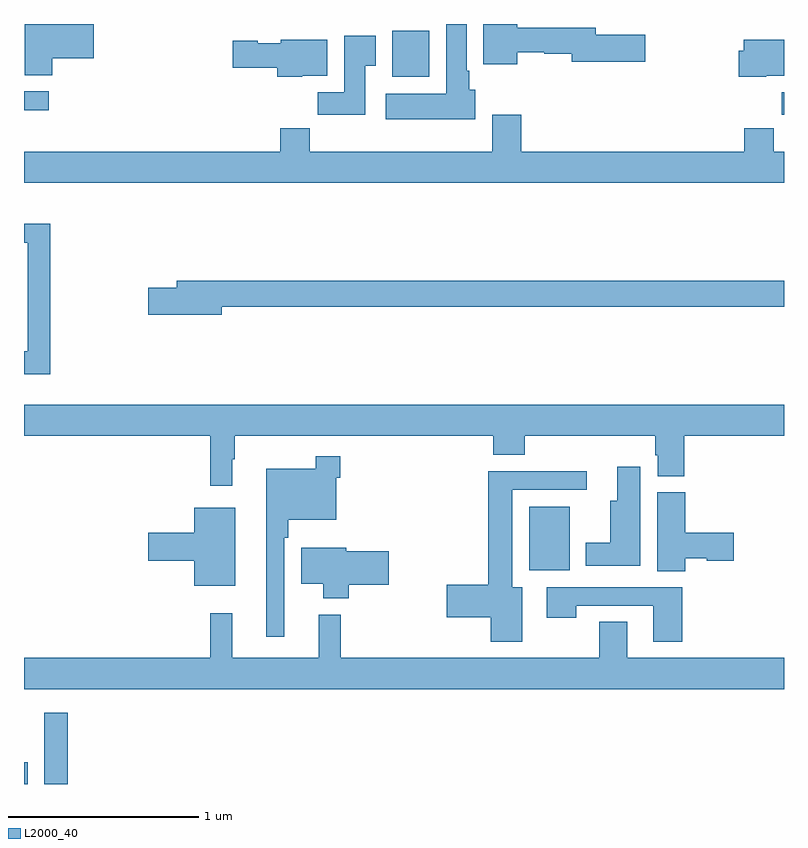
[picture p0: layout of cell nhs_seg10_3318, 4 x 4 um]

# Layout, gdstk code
import gdstk
lib = gdstk.Library(unit=1e-6, precision=1e-09)
def R(c, l, rs):  # rectangles x0, y0, x1, y1
    for r in rs: c.add(gdstk.rectangle(r[:2], r[2:], *l))
def P(c, l, *ps):  # polygons
    for p in ps: c.add(gdstk.Polygon(p, *l))
L2000_40 = (2000, 40)

nhs_seg10_3318 = lib.new_cell('nhs_seg10_3318')
R(nhs_seg10_3318, L2000_40, [(291,1282.5,291.019,1282.615), (291.107,1282.5,291.229,1282.876), (293.66,1283.624,293.872,1283.959), (294.988,1286.022,295,1286.14), (291,1286.047,291.13,1286.145), (292.937,1286.222,293.134,1286.464)])
P(nhs_seg10_3318, L2000_40, [(291.149,1286.321),(291.367,1286.321),(291.367,1286.5),(291.005,1286.5),(291.005,1286.23),(291.149,1286.23)],
  [(293.374,1286.154),(293.344,1286.154),(293.344,1286.254),(293.329,1286.254),(293.329,1286.5),(293.222,1286.5),(293.222,1286.134),(292.905,1286.134),(292.905,1286),(293.374,1286)],
  [(293.596,1286.352),(293.739,1286.352),(293.739,1286.344),(293.882,1286.344),(293.882,1286.302),(294.271,1286.302),(294.271,1286.444),(294.01,1286.444),(294.01,1286.48),(293.596,1286.48),(293.596,1286.5),(293.417,1286.5),(293.417,1286.288),(293.596,1286.288)],
  [(292.795,1286.281),(292.852,1286.281),(292.852,1286.437),(292.685,1286.437),(292.685,1286.14),(292.546,1286.14),(292.546,1286.022),(292.795,1286.022)],
  [(292.464,1286.228),(292.597,1286.228),(292.597,1286.416),(292.35,1286.416),(292.35,1286.398),(292.23,1286.398),(292.23,1286.411),(292.098,1286.411),(292.098,1286.269),(292.334,1286.269),(292.334,1286.222),(292.464,1286.222)],
  [(294.906,1286.228),(295,1286.228),(295,1286.416),(294.788,1286.416),(294.788,1286.358),(294.763,1286.358),(294.763,1286.222),(294.906,1286.222)],
  [(295,1285.828),(294.947,1285.828),(294.947,1285.952),(294.791,1285.952),(294.791,1285.828),(293.618,1285.828),(293.618,1286.023),(293.465,1286.023),(293.465,1285.828),(292.505,1285.828),(292.505,1285.952),(292.349,1285.952),(292.349,1285.828),(291,1285.828),(291,1285.664),(295,1285.664)],
  [(291.139,1285.448),(291,1285.448),(291,1285.35),(291.02,1285.35),(291.02,1284.777),(291,1284.777),(291,1284.657),(291.139,1284.657)],
  [(292.042,1285.012),(295,1285.012),(295,1285.148),(291.803,1285.148),(291.803,1285.112),(291.654,1285.112),(291.654,1284.97),(292.042,1284.97)],
  [(292.096,1284.209),(292.108,1284.209),(292.108,1284.332),(293.471,1284.332),(293.471,1284.233),(293.636,1284.233),(293.636,1284.332),(294.323,1284.332),(294.323,1284.231),(294.335,1284.231),(294.335,1284.121),(294.476,1284.121),(294.476,1284.332),(295,1284.332),(295,1284.496),(291,1284.496),(291,1284.332),(291.979,1284.332),(291.979,1284.069),(292.096,1284.069)],
  [(292.371,1283.795),(292.391,1283.795),(292.391,1283.891),(292.644,1283.891),(292.644,1284.113),(292.664,1284.113),(292.664,1284.226),(292.536,1284.226),(292.536,1284.16),(292.274,1284.16),(292.274,1283.274),(292.371,1283.274)],
  [(294.244,1284.169),(294.122,1284.169),(294.122,1283.992),(294.086,1283.992),(294.086,1283.77),(293.957,1283.77),(293.957,1283.648),(294.244,1283.648)],
  [(293.623,1283.536),(293.569,1283.536),(293.569,1284.048),(293.962,1284.048),(293.962,1284.146),(293.444,1284.146),(293.444,1283.549),(293.226,1283.549),(293.226,1283.378),(293.456,1283.378),(293.456,1283.25),(293.623,1283.25)],
  [(294.479,1283.687),(294.593,1283.687),(294.593,1283.675),(294.736,1283.675),(294.736,1283.822),(294.479,1283.822),(294.479,1284.036),(294.332,1284.036),(294.332,1283.62),(294.479,1283.62)],
  [(292.111,1283.953),(291.896,1283.953),(291.896,1283.822),(291.654,1283.822),(291.654,1283.675),(291.896,1283.675),(291.896,1283.543),(292.111,1283.543)],
  [(292.709,1283.548),(292.921,1283.548),(292.921,1283.726),(292.696,1283.726),(292.696,1283.743),(292.46,1283.743),(292.46,1283.555),(292.574,1283.555),(292.574,1283.477),(292.709,1283.477)],
  [(294.464,1283.535),(293.751,1283.535),(293.751,1283.376),(293.907,1283.376),(293.907,1283.439),(294.311,1283.439),(294.311,1283.25),(294.464,1283.25)],
  [(295,1283.164),(294.175,1283.164),(294.175,1283.354),(294.028,1283.354),(294.028,1283.164),(292.667,1283.164),(292.667,1283.392),(292.55,1283.392),(292.55,1283.164),(292.097,1283.164),(292.097,1283.398),(291.979,1283.398),(291.979,1283.164),(291,1283.164),(291,1283),(295,1283)])

lib.write_gds('nhs_seg10_3318.gds')
